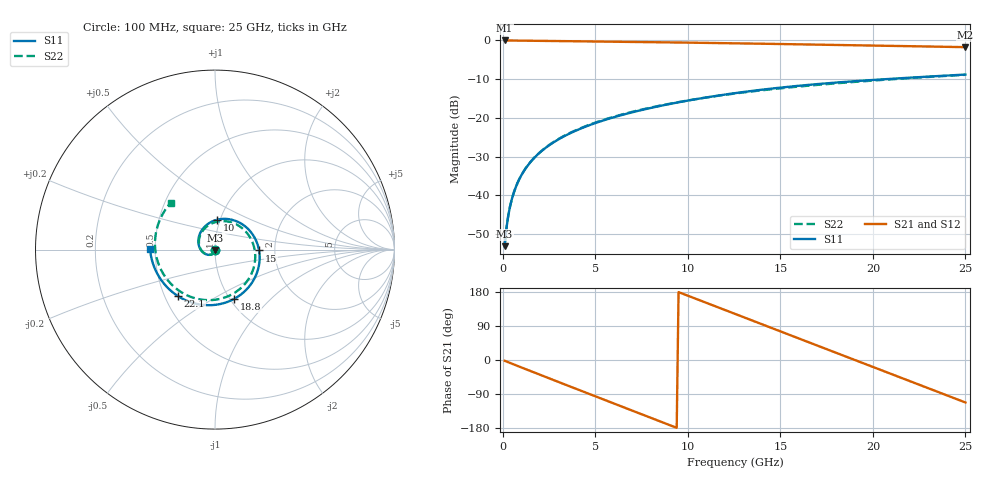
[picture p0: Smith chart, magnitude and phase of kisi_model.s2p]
! kisi B_s8_L1L3_bd_d300: fast channel model (formula impedances, via model), up to 25 GHz
# Hz S RI R 50
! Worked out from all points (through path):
!   250 points, 100 MHz to 25 GHz, reference 50 ohm
!   highest |S21| = -0.02 dB at 100 MHz (marker M1); lowest = -1.7 dB at 25 GHz (marker M2)
!   group delay of S21, straight-line fit = 52.3 ps
!   lowest |S11| = -53.2 dB at 100 MHz (marker M3), VSWR 1.00, Z = 50.1 - j0.178 ohm
!   |S11| at or under -10 dB: start of sweep to 20.73 GHz
!   |S22| runs from -53.2 to -8.9 dB; largest |S21 - S12| = 0
!   S11 on the Smith chart (normalised r, x): 100 MHz: 1.00, -0.00; 10 GHz: 0.97, +0.33; 15 GHz: 1.65, -0.02; 18.8 GHz: 1.05, -0.63; 22.1 GHz: 0.59, -0.34; 25 GHz: 0.47, +0.00
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1e8  0.00129 -0.00178  0.9974 -0.035  0.9974 -0.035  0.0013 -0.00177
3e8  0.000887 -0.00543  0.9912 -0.1032  0.9912 -0.1032  0.000888 -0.00544
5e8  -9.54e-05 -0.00906  0.9806 -0.1701  0.9806 -0.1701  -0.000107 -0.00908
1.2e9  -0.00749 -0.0202  0.9096 -0.3929  0.9096 -0.3929  -0.00767 -0.0202
2.8e9  -0.0398 -0.0288  0.5771 -0.7936  0.5771 -0.7936  -0.041 -0.028
4.3e9  -0.0735 -0.00912  0.1269 -0.9639  0.1269 -0.9639  -0.0749 -0.00506
6.2e9  -0.0929 0.0487  -0.4585 -0.8442  -0.4585 -0.8442  -0.0884 0.0595
7.4e9  -0.0817 0.0938  -0.7428 -0.5972  -0.7428 -0.5972  -0.0675 0.1065
8.4e9  -0.0563 0.129  -0.89 -0.3224  -0.89 -0.3224  -0.0311 0.1387
1e10  0.012 0.1665  -0.9207 0.1671  -0.9207 0.1671  0.0545 0.1584
1.12e10  0.0784 0.1693  -0.7784 0.5037  -0.7784 0.5037  0.1264 0.1365
1.26e10  0.158 0.137  -0.4683 0.788  -0.4683 0.788  0.1952 0.0684
1.38e10  0.214 0.078  -0.1287 0.8981  -0.1287 0.8981  0.2232 -0.0182
1.5e10  0.2454 -0.00449  0.2232 0.8695  0.2232 0.8695  0.2109 -0.1154
1.67e10  0.2299 -0.1391  0.6392 0.6107  0.6392 0.6107  0.1202 -0.2334
1.78e10  0.1786 -0.2191  0.8051 0.3429  0.8051 0.3429  0.0252 -0.2751
1.88e10  0.1068 -0.2745  0.8646 0.0653  0.8646 0.0653  -0.0733 -0.279
1.98e10  0.0174 -0.3055  0.832 -0.2141  0.832 -0.2141  -0.1707 -0.2472
2.09e10  -0.0907 -0.3049  0.6961 -0.4885  0.6961 -0.4885  -0.261 -0.1733
2.21e10  -0.2048 -0.2601  0.4509 -0.7098  0.4509 -0.7098  -0.3223 -0.0563
2.36e10  -0.3152 -0.1453  0.0613 -0.8267  0.0613 -0.8267  -0.3243 0.1148
2.5e10  -0.3622 0.00268  -0.3076 -0.7575  -0.3076 -0.7575  -0.246 0.2619
